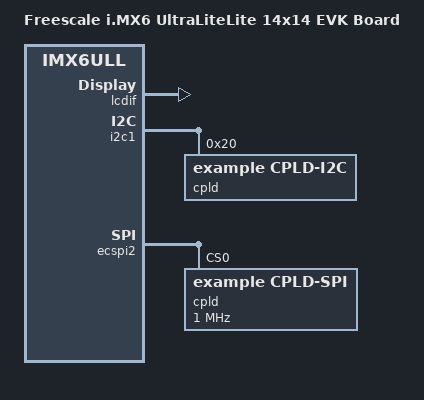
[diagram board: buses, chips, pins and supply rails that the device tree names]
// SPDX-License-Identifier: (GPL-2.0 OR MIT)
//
// Copyright (C) 2016 Freescale Semiconductor, Inc.

/dts-v1/;

#include "imx6ull.dtsi"
#include "imx6ul-14x14-evk.dtsi"

/ {
	model = "Freescale i.MX6 UltraLiteLite 14x14 EVK Board";
	compatible = "fsl,imx6ull-14x14-evk", "fsl,imx6ull";
};

&clks {
	assigned-clocks = <&clks IMX6UL_CLK_PLL3_PFD2>;
	assigned-clock-rates = <320000000>;
};

&lcdif {
    display = <&display0>;
    status = "okay";

    display0: display0 {
        bits-per-pixel = <16>;
        bus-width = <18>;

        display-timings {
            native-mode = <&timing0>;
            timing0: timing0 {
                clock-frequency = <28000000>;
                hactive = <800>;
                vactive = <480>;
                hfront-porch = <30>;
                hback-porch = <30>;
                hsync-len = <64>;
                vback-porch = <5>;
                vfront-porch = <5>;
                vsync-len = <20>;
                hsync-active = <0>;
                vsync-active = <0>;
                de-active = <1>;
                pixelclk-active = <0>;
            };
        };
    };
};

&i2c1 {
    status = "okay";
    cpld@20 {
        status = "okay";
        compatible = "example,cpld-i2c";
        reg = <0x20>; // CPLD的I2C设备地址
        cpld-device-id = <0>; // 唯一的设备ID
    };
};

&ecspi2 {
    status = "okay";
    cpld@0 {
        status = "okay";
        compatible = "example,cpld-spi";
        reg = <0>; // CPLD的SPI设备地址
        spi-max-frequency = <1000000>;
        cpld-device-id = <1>; // 唯一的设备ID
	};
};





